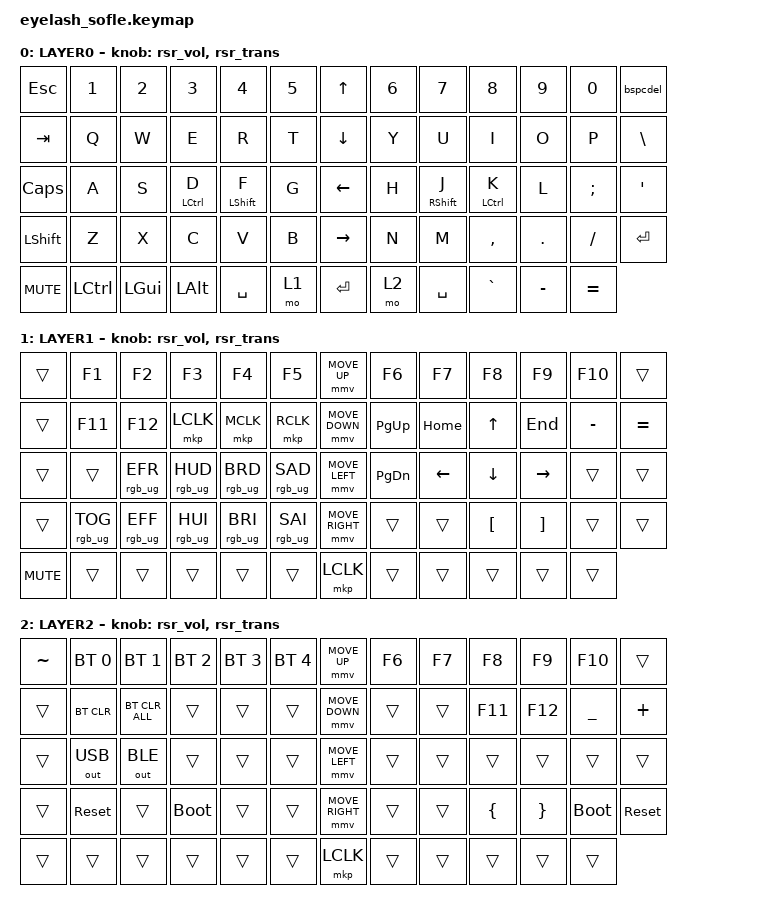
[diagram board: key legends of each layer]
#define ZMK_POINTING_DEFAULT_MOVE_VAL 1200  // 600
#define ZMK_POINTING_DEFAULT_SCRL_VAL 25   // 10

#include <input/processors.dtsi>
#include <zephyr/dt-bindings/input/input-event-codes.h>
#include <behaviors.dtsi>
#include <behaviors/runtime-sensor-rotate.dtsi>
#include <dt-bindings/zmk/bt.h>
#include <dt-bindings/zmk/keys.h>
#include <dt-bindings/zmk/outputs.h>
#include <dt-bindings/zmk/pointing.h>
#include <dt-bindings/zmk/rgb.h>

&mmv_input_listener { input-processors = <&zip_xy_scaler 2 1>; };

&msc_input_listener { input-processors = <&zip_scroll_scaler 2 1>; };

&msc {
    acceleration-exponent = <1>;      // 0
    time-to-max-speed-ms = <100>;       // 300
    delay-ms = <0>;                   // 0
};

&mmv {
    time-to-max-speed-ms = <500>;
    acceleration-exponent = <1>;          
    trigger-period-ms = <16>;
};

&soft_off { hold-time-ms = <2000>; };

/ {
    scroll_encoder: scroll_encoder {
        compatible = "zmk,behavior-sensor-rotate";
        #sensor-binding-cells = <0>;
        bindings = <&msc SCRL_DOWN>, <&msc SCRL_UP>;

        tap-ms = <100>;
    };

    behaviors {
        bspcdel: backspace_del {
            compatible = "zmk,behavior-mod-morph";
            #binding-cells = <0>;
            bindings = <&kp BACKSPACE>, <&kp DELETE>;
            mods = <(MOD_LSFT|MOD_RSFT)>;
        };
        hml: home_row_mod_left {
            compatible = "zmk,behavior-hold-tap";
            #binding-cells = <2>;
            flavor = "balanced";
            require-prior-idle-ms = <150>;
            tapping-term-ms = <280>;
            quick-tap-ms = <175>;
            bindings = <&kp>, <&kp>;
            hold-trigger-key-positions = <
                7  8  9 10 11 12
                20 21 22 23 24 25
                33 34 35 36 37 38
                46 47 48 49 50 51
                59 60 61 62 63
            >;
            hold-trigger-on-release;
        };
        hmr: home_row_mod_right {
            compatible = "zmk,behavior-hold-tap";
            #binding-cells = <2>;
            flavor = "balanced";
            require-prior-idle-ms = <150>;
            tapping-term-ms = <280>;
            quick-tap-ms = <175>;
            bindings = <&kp>, <&kp>;
            hold-trigger-key-positions = <
                0  1  2  3  4  5
                13 14 15 16 17 18
                26 27 28 29 30 31
                39 40 41 42 43 44
                52 53 54 55 56 57
            >;
            hold-trigger-on-release;
        };

        rsr_vol: rsr_vol {
            compatible = "zmk,behavior-runtime-sensor-rotate";
            #sensor-binding-cells = <0>;
            tap-ms = <5>;
            cw-binding = <&kp C_VOL_UP>;
            ccw-binding = <&kp C_VOL_DN>;
        };

        rsr_trans: rsr_trans {
            compatible = "zmk,behavior-runtime-sensor-rotate";
            #sensor-binding-cells = <0>;
            tap-ms = <0>;
        };
    };

    combos {
        compatible = "zmk,combos";

        softoff {
            bindings = <&soft_off>;
            key-positions = <14 28 40>;
        };

        enter_left {
            bindings = <&kp ENTER>;
            key-positions = <28 29 30>;
            timeout-ms = <50>;
            require-prior-idle-ms = <150>;
            layers = <0>;
        };

        enter_right {
            bindings = <&kp ENTER>;
            key-positions = <34 35 36>;
            timeout-ms = <50>;
            require-prior-idle-ms = <150>;
            layers = <0>;
        };
    };

    macros {
        SHIFT_MCLK: SHIFT_MCLK {
            compatible = "zmk,behavior-macro";
            #binding-cells = <0>;
            bindings =
                <&macro_press>,
                <&kp LEFT_SHIFT>,
                <&macro_press>,
                <&mkp MB3>,
                <&macro_pause_for_release>,
                <&macro_release>,
                <&kp LEFT_SHIFT &mkp MB3>;

            label = "SHIFT_MCLK";
        };
    };

    keymap {
        compatible = "zmk,keymap";

        layer0 {
            bindings = <
&kp ESC     &kp N1     &kp N2        &kp N3        &kp N4       &kp N5       &kp UP_ARROW     &kp N6     &kp N7        &kp N8        &kp N9           &kp N0      &bspcdel
&kp TAB     &kp Q      &kp W         &kp E         &kp R        &kp T        &kp DOWN_ARROW   &kp Y      &kp U         &kp I         &kp O            &kp P       &kp BSLH
&kp CAPS    &kp A      &kp S         &hml LCTRL D  &hml LSHFT F &kp G        &kp LEFT_ARROW   &kp H      &hmr RSHFT J  &hmr LCTRL K  &kp L            &kp SEMI    &kp APOS
&kp LSHFT   &kp Z      &kp X         &kp C         &kp V        &kp B        &kp RIGHT_ARROW  &kp N      &kp M         &kp COMMA     &kp DOT          &kp FSLH    &kp ENTER
&kp C_MUTE  &kp LCTRL  &kp LEFT_GUI  &kp LEFT_ALT  &kp SPACE    &mo 1        &kp ENTER        &mo 2      &kp SPACE     &kp GRAVE     &kp MINUS        &kp EQUAL
            >;

            sensor-bindings = <&rsr_vol &rsr_trans>;
            display-name = "LAYER0";
        };

        layer_1 {
            bindings = <
&trans      &kp F1           &kp F2           &kp F3           &kp F4           &kp F5             &mmv MOVE_UP     &kp F6           &kp F7           &kp F8            &kp F9             &kp F10      &trans
&trans      &kp F11          &kp F12          &mkp LCLK        &mkp MCLK        &mkp RCLK          &mmv MOVE_DOWN   &kp PG_UP        &kp HOME         &kp UP            &kp END            &kp MINUS    &kp EQUAL
&trans      &trans           &rgb_ug RGB_EFR  &rgb_ug RGB_HUD  &rgb_ug RGB_BRD  &rgb_ug RGB_SAD    &mmv MOVE_LEFT   &kp PG_DN        &kp LEFT         &kp DOWN          &kp RIGHT          &trans       &trans
&trans      &rgb_ug RGB_TOG  &rgb_ug RGB_EFF  &rgb_ug RGB_HUI  &rgb_ug RGB_BRI  &rgb_ug RGB_SAI    &mmv MOVE_RIGHT  &trans           &trans           &kp LEFT_BRACKET  &kp RIGHT_BRACKET  &trans       &trans
&kp C_MUTE  &trans           &trans           &trans           &trans           &trans             &mkp LCLK        &trans           &trans           &trans            &trans             &trans
            >;

            sensor-bindings = <&rsr_vol &rsr_trans>;
            display-name = "LAYER1";
        };

        layer_2 {
            bindings = <
&kp TILDE  &bt BT_SEL 0  &bt BT_SEL 1    &bt BT_SEL 2  &bt BT_SEL 3  &bt BT_SEL 4    &mmv MOVE_UP     &kp F6  &kp F7  &kp F8      &kp F9     &kp F10      &trans
&trans     &bt BT_CLR    &bt BT_CLR_ALL  &trans        &trans        &trans          &mmv MOVE_DOWN   &trans  &trans  &kp F11     &kp F12    &kp UNDER    &kp PLUS
&trans     &out OUT_USB  &out OUT_BLE    &trans        &trans        &trans          &mmv MOVE_LEFT   &trans  &trans  &trans      &trans     &trans       &trans
&trans     &sys_reset    &trans          &bootloader   &trans        &trans          &mmv MOVE_RIGHT  &trans  &trans  &kp LBRC    &kp RBRC   &bootloader  &sys_reset
&trans     &trans        &trans          &trans        &trans        &trans          &mkp LCLK        &trans  &trans  &trans      &trans     &trans
            >;

            display-name = "LAYER2";
            sensor-bindings = <&rsr_vol &rsr_trans>;
        };

//         layer_3 {
//             bindings = <
// &trans  &trans  &trans  &trans  &trans  &trans    &trans  &trans  &trans  &trans  &trans  &trans  &trans
// &trans  &trans  &trans  &trans  &trans  &trans    &trans  &trans  &trans  &trans  &trans  &trans  &trans
// &trans  &trans  &trans  &trans  &trans  &trans    &trans  &trans  &trans  &trans  &trans  &trans  &trans
// &trans  &trans  &trans  &trans  &trans  &trans    &trans  &trans  &trans  &trans  &trans  &trans  &trans
// &trans  &trans  &trans  &trans  &trans  &trans    &trans  &trans  &trans  &trans  &trans  &trans
//             >;

//             display-name = "layer3";
//             sensor-bindings = <&scroll_encoder>;
//         };

//         layer_4 {
//             bindings = <
// &trans  &trans  &trans  &trans  &trans  &trans    &trans  &trans  &trans  &trans  &trans  &trans  &trans
// &trans  &trans  &trans  &trans  &trans  &trans    &trans  &trans  &trans  &trans  &trans  &trans  &trans
// &trans  &trans  &trans  &trans  &trans  &trans    &trans  &trans  &trans  &trans  &trans  &trans  &trans
// &trans  &trans  &trans  &trans  &trans  &trans    &trans  &trans  &trans  &trans  &trans  &trans  &trans
// &trans  &trans  &trans  &trans  &trans  &trans    &trans  &trans  &trans  &trans  &trans  &trans
//             >;

//             display-name = "layer4";
//             sensor-bindings = <&scroll_encoder>;
//         };
    };
};
